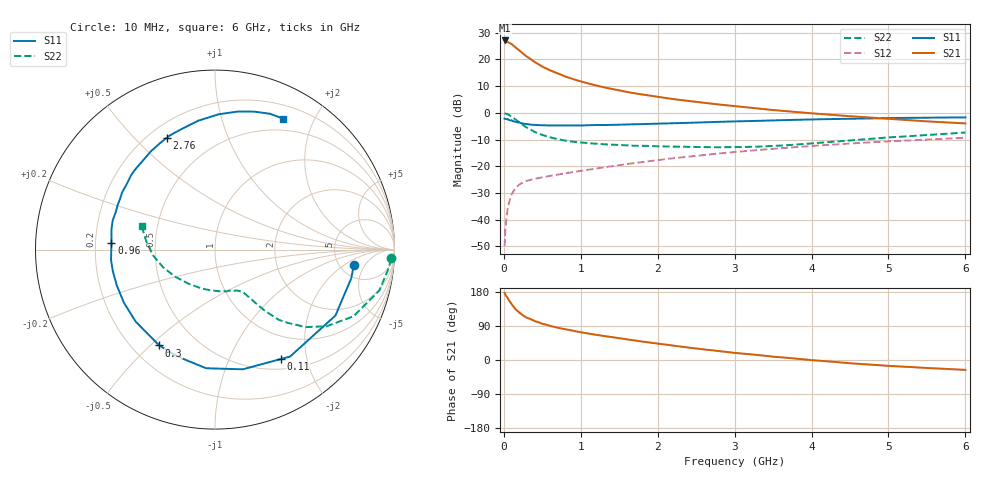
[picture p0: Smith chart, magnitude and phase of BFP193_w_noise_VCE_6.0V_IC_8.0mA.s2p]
! Infineon Technologies  Discrete & RF Semiconductors
! BFP193
! VCE = 6.0 V,  IC =  8.0 mA
! Common Emitter S-Parameters:  Jan 2016
# GHz  S  MA  R  50
!  f  S11  S21  S12  S22
! GHz  MAG  ANG  MAG  ANG  MAG  ANG  MAG  ANG
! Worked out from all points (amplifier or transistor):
!   210 points, 10 MHz to 6 GHz, reference 50 ohm
!   highest |S21| = 27.1 dB at 10 MHz (marker M1)
!   |S21| within 3 dB of that: start of sweep to 169.7 MHz
!   unconditionally stable (mu >= 1): 1.15 GHz to 3.713 GHz
!   at 185 MHz: K = 0.28, MSG = 25.5 dB, |S12| = -27.2 dB
!   at 1.52 GHz: K = 1.08, MAG = 12.2 dB, |S12| = -19.5 dB
!   at 6 GHz: K = 0.89, MSG = 2.7 dB, |S12| = -9.3 dB
!   lowest NFmin = 1.25 dB at 450 MHz
!   S11 on the Smith chart (normalised r, x): 10 MHz: 6.77, -2.89; 110 MHz: 0.64, -1.58; 300 MHz: 0.31, -0.53; 960 MHz: 0.27, +0.03; 2.76 GHz: 0.27, +0.62; 6 GHz: 0.35, +1.59
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0.01  0.7786 -6.2  22.64 177.1  0.0032 89.8  0.9799 -2.9
0.02  0.7757 -11.9  22.16 172.3  0.0065 83.8  0.9758 -5.6
0.05  0.7651 -28.7  21.42 162.3  0.016 76.5  0.944 -13.9
0.1  0.728 -54.9  19.45 147.4  0.0295 64.3  0.8566 -25.7
0.11  0.7112 -59.0  18.87 145.1  0.0313 62.1  0.8347 -27.3
0.15  0.6848 -76.9  16.92 134.4  0.039 55.5  0.7543 -34.5
0.2  0.6628 -94.3  14.77 125.2  0.0455 50.0  0.6652 -40.5
0.24  0.6345 -105.8  13.18 119.1  0.0492 46.7  0.6025 -43.7
0.3  0.6179 -120.2  11.25 111.5  0.0536 43.4  0.5293 -47.7
0.4  0.5969 -137.7  8.969 102.8  0.0584 40.6  0.4408 -50.8
0.5  0.5874 -149.8  7.337 95.8  0.0621 39.7  0.3855 -52.4
0.6  0.5824 -160.0  6.256 90.0  0.066 40.1  0.3475 -53.6
0.7  0.5818 -168.2  5.442 85.1  0.0697 40.6  0.321 -54.6
0.96  0.5782 176.1  4.027 74.8  0.0804 42.8  0.2824 -56.9
1.02  0.5813 172.8  3.802 72.6  0.0828 43.2  0.2774 -57.6
1.4  0.5961 155.8  2.802 60.3  0.0999 45.2  0.2549 -63.8
2.02  0.6303 134.5  1.97 42.8  0.1317 45.1  0.2361 -78.0
2.76  0.6787 113.4  1.452 24.4  0.1716 41.6  0.2274 -100.9
3.1  0.6963 105.7  1.289 17.0  0.1903 39.1  0.2294 -113.4
4.1  0.7579 86.9  0.956 -1.8  0.2455 30.5  0.275 -149.5
5.1  0.8019 72.9  0.76 -16.5  0.2971 20.3  0.3537 -177.5
6  0.8231 62.4  0.634 -26.1  0.3415 10.4  0.4282 162.4
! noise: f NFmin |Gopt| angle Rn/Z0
0.45  1.25  0.23  133  0.12
0.9  1.3  0.35  156  0.11
1.8  2  0.55  -155  0.13
